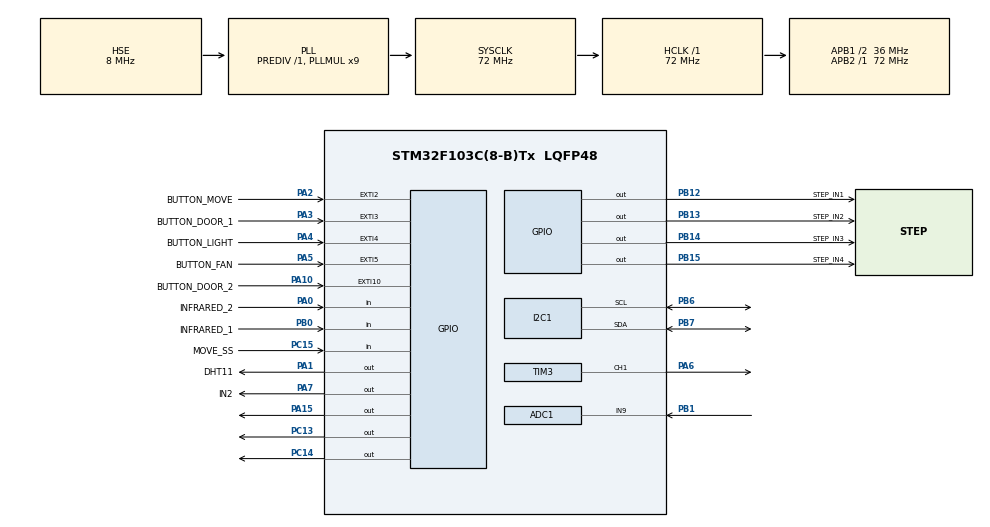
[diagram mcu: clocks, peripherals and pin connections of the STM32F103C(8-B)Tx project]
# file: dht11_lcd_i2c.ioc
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ADC1.Channel-0\#ChannelRegularConversion=ADC_CHANNEL_9
ADC1.ContinuousConvMode=ENABLE
ADC1.NbrOfConversionFlag=1
ADC1.Rank-0\#ChannelRegularConversion=1
ADC1.SamplingTime-0\#ChannelRegularConversion=ADC_SAMPLETIME_1CYCLE_5
ADC1.master=1
I2C1.OwnAddress=0x4E
Mcu.Family=STM32F1
Mcu.Name=STM32F103C(8-B)Tx
Mcu.Package=LQFP48
NVIC.EXTI15_10_IRQn=true\:0\:0\:false\:false\:true\:true\:true\:true
NVIC.EXTI2_IRQn=true\:0\:0\:false\:false\:true\:true\:true\:true
NVIC.EXTI3_IRQn=true\:0\:0\:false\:false\:true\:true\:true\:true
NVIC.EXTI4_IRQn=true\:0\:0\:false\:false\:true\:true\:true\:true
NVIC.EXTI9_5_IRQn=true\:0\:0\:false\:false\:true\:true\:true\:true
NVIC.PriorityGroup=NVIC_PRIORITYGROUP_4
PA0-WKUP.GPIO_Label=INFRARED_2
PA0-WKUP.GPIO_PuPd=GPIO_PULLDOWN
PA0-WKUP.Signal=GPIO_Input
PA1.GPIO_Label=DHT11
PA1.PinState=GPIO_PIN_RESET
PA1.Signal=GPIO_Output
PA10.GPIO_Label=BUTTON_DOOR_2
PA10.GPIO_ModeDefaultEXTI=GPIO_MODE_IT_FALLING
PA10.GPIO_PuPd=GPIO_PULLUP
PA10.Signal=GPXTI10
PA13.Mode=Serial_Wire
PA13.Signal=SYS_JTMS-SWDIO
PA14.Mode=Serial_Wire
PA14.Signal=SYS_JTCK-SWCLK
PA15.PinState=GPIO_PIN_SET
PA15.Signal=GPIO_Output
PA2.GPIO_Label=BUTTON_MOVE
PA2.GPIO_ModeDefaultEXTI=GPIO_MODE_IT_FALLING
PA2.GPIO_PuPd=GPIO_PULLUP
PA2.Signal=GPXTI2
PA3.GPIO_Label=BUTTON_DOOR_1
PA3.GPIO_ModeDefaultEXTI=GPIO_MODE_IT_FALLING
PA3.GPIO_PuPd=GPIO_PULLUP
PA3.Signal=GPXTI3
PA4.GPIO_Label=BUTTON_LIGHT
PA4.GPIO_ModeDefaultEXTI=GPIO_MODE_IT_FALLING
PA4.GPIO_PuPd=GPIO_PULLUP
PA4.Signal=GPXTI4
PA5.GPIO_Label=BUTTON_FAN
PA5.GPIO_ModeDefaultEXTI=GPIO_MODE_IT_FALLING
PA5.GPIO_PuPd=GPIO_PULLUP
PA5.Signal=GPXTI5
PA6.Signal=S_TIM3_CH1
PA7.GPIO_Label=IN2
PA7.Signal=GPIO_Output
PB0.GPIO_Label=INFRARED_1
PB0.GPIO_PuPd=GPIO_PULLDOWN
PB0.Signal=GPIO_Input
PB1.Signal=ADCx_IN9
PB12.GPIO_Label=STEP_IN1
PB12.Signal=GPIO_Output
PB13.GPIO_Label=STEP_IN2
PB13.Signal=GPIO_Output
PB14.GPIO_Label=STEP_IN3
PB14.Signal=GPIO_Output
PB15.GPIO_Label=STEP_IN4
PB15.Signal=GPIO_Output
PB6.Mode=I2C
PB6.Signal=I2C1_SCL
PB7.Mode=I2C
PB7.Signal=I2C1_SDA
PC13-TAMPER-RTC.PinState=GPIO_PIN_RESET
PC13-TAMPER-RTC.Signal=GPIO_Output
PC14-OSC32_IN.PinState=GPIO_PIN_SET
PC14-OSC32_IN.Signal=GPIO_Output
PC15-OSC32_OUT.GPIO_Label=MOVE_SS
PC15-OSC32_OUT.GPIO_PuPd=GPIO_PULLDOWN
PC15-OSC32_OUT.Signal=GPIO_Input
PD0-OSC_IN.Mode=HSE-External-Oscillator
PD0-OSC_IN.Signal=RCC_OSC_IN
PD1-OSC_OUT.Mode=HSE-External-Oscillator
PD1-OSC_OUT.Signal=RCC_OSC_OUT
ProjectManager.HeapSize=0x200
ProjectManager.StackSize=0x400
ProjectManager.TargetToolchain=MDK-ARM V5.32
RCC.ADCPresc=RCC_ADCPCLK2_DIV6
RCC.AHBFreq_Value=72000000
RCC.APB1CLKDivider=RCC_HCLK_DIV2
RCC.APB1Freq_Value=36000000
RCC.APB1TimFreq_Value=72000000
RCC.APB2Freq_Value=72000000
RCC.APB2TimFreq_Value=72000000
RCC.HCLKFreq_Value=72000000
RCC.PLLMUL=RCC_PLL_MUL9
RCC.PLLSourceVirtual=RCC_PLLSOURCE_HSE
RCC.SYSCLKFreq_VALUE=72000000
RCC.SYSCLKSource=RCC_SYSCLKSOURCE_PLLCLK
RCC.USBFreq_Value=72000000
SH.ADCx_IN9.0=ADC1_IN9,IN9
SH.S_TIM3_CH1.0=TIM3_CH1,PWM Generation1 CH1
TIM3.AutoReloadPreload=TIM_AUTORELOAD_PRELOAD_ENABLE
TIM3.Channel-PWM\ Generation1\ CH1=TIM_CHANNEL_1
TIM3.Period=999
TIM3.Prescaler=719
TIM3.Pulse-PWM\ Generation1\ CH1=499
TIM4.Period=0xffff-1
TIM4.Prescaler=72-1
VP_TIM3_VS_ClockSourceINT.Mode=Internal
VP_TIM4_VS_ClockSourceINT.Mode=Internal
board=custom

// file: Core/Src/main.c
/* USER CODE BEGIN Header */
/**
  ******************************************************************************
  * @file           : main.c
  * @brief          : Main program body
  ******************************************************************************
  * @attention
  *
  * Copyright (c) 2023 STMicroelectronics.
  * All rights reserved.
  *
  * This software is licensed under terms that can be found in the LICENSE file
  * in the root directory of this software component.
  * If no LICENSE file comes with this software, it is provided AS-IS.
  *
  ******************************************************************************
  */
/* USER CODE END Header */
#include "main.h"

/* USER CODE BEGIN Includes */
#include "i2c-lcd.h"
#include "stdio.h"
#include "dc_motor_fun.h"
/* USER CODE END Includes */

/* USER CODE BEGIN PD */
#define DHT11_PORT GPIOA
#define DHT11_PIN GPIO_PIN_1
/* USER CODE END PD */

ADC_HandleTypeDef hadc1;

I2C_HandleTypeDef hi2c1;

TIM_HandleTypeDef htim3;
TIM_HandleTypeDef htim4;

/* USER CODE BEGIN PV */
// bien chuc nang light
volatile static  uint8_t flag_light = 0;
volatile static  uint8_t flag_fan = 0;
volatile static uint16_t readValue;

// bien chuc nang nhiet do va quat
uint8_t Rh_byte1,Rh_byte2,Temp_byte1,Temp_byte2;
uint16_t SUM,RH,TEMP;

float Temperature = 0;
float Humidity= 0;
uint8_t Presence = 0;
// bien chuc nang cam bien hong ngoai
volatile static uint8_t flag_door;
volatile static uint8_t  done_close;
// bien chuc nang cam bien chuyen dong

uint8_t flag_move = 0;
uint8_t read_pa15;
uint8_t Response = 0;
/* USER CODE END PV */

void SystemClock_Config(void);
static void MX_GPIO_Init(void);
static void MX_I2C1_Init(void);
static void MX_TIM4_Init(void);
static void MX_TIM3_Init(void);
static void MX_ADC1_Init(void);
/* USER CODE BEGIN PFP */
// void delay(uint16_t time);
void Display_Temp(float Temp);
void Display_Rh (float Rh);
void Set_Pin_Output(GPIO_TypeDef *GPIOx, uint16_t GPIO_Pin);
void Set_Pin_Input (GPIO_TypeDef *GPIOx, uint16_t GPIO_Pin);
void DHT11_Start (void);
uint8_t DHT11_Check_Response(void);
uint8_t DHT11_Read (void);

/* USER CODE END PFP */

/* USER CODE BEGIN 0 */

void HAL_GPIO_EXTI_Callback(uint16_t GPIO_Pin)
{
  /* Prevent unused argument(s) compilation warning */
	uint16_t duty_cycle;

  UNUSED(GPIO_Pin);
	// xu ly ngat cho cam bien nhiet va quat
 if(GPIO_Pin == BUTTON_FAN_Pin){
	 if(flag_fan == 0){
	 if(Temperature <= 32){
		 duty_cycle = 600;
	 } else duty_cycle = 0;
	 __HAL_TIM_SetCompare(&htim3,TIM_CHANNEL_1,duty_cycle);
	 flag_fan = 1;
	 } else flag_fan = 0;
 }
 	// xu ly ngat cho cam bien anh sang
	if(GPIO_Pin == BUTTON_LIGHT_Pin){
HAL_GPIO_TogglePin(GPIOC,GPIO_PIN_14);
		if(flag_light == 0){
		flag_light = 1 ;
		} else flag_light = 0;
	if(readValue > 2100){
	readValue = 0;
	} else readValue = 3900;
}
	// xu ly ngat cho cam bien hong ngoai
	if(GPIO_Pin == BUTTON_DOOR_1_Pin){
			if(flag_door == 0){
				flag_door = 1;
				stepCCV(1536,1000);
			} else if(flag_door == 1){
			stepCV(1536,1000);
				flag_door = 0;
			}

}
		if(GPIO_Pin == BUTTON_DOOR_2_Pin){
				if(flag_door == 0){
				flag_door = 1;
				stepCCV(1536,1000);
			} else if(flag_door == 1){
			stepCV(1536,1000);
				flag_door = 0;
			}
	}
	// xu ly ngat cho cam bien chuyen dong
	if(GPIO_Pin == BUTTON_MOVE_Pin){
			if(flag_move == 0){
			flag_move = 1;
			read_pa15 = HAL_GPIO_ReadPin(MOVE_SS_GPIO_Port,MOVE_SS_Pin);
			(read_pa15) ? (HAL_GPIO_WritePin(GPIOA,GPIO_PIN_15,1)) : (HAL_GPIO_WritePin(GPIOA,GPIO_PIN_15,0));
			} else flag_move = 0;
	}
}
/* USER CODE END 0 */

int main(void)
{

  /* MCU Configuration--------------------------------------------------------*/

  /* Reset of all peripherals, Initializes the Flash interface and the Systick. */
  HAL_Init();

  /* Configure the system clock */
  SystemClock_Config();

  /* Initialize all configured peripherals */
  MX_GPIO_Init();
  MX_I2C1_Init();
  MX_TIM4_Init();
  MX_TIM3_Init();
  MX_ADC1_Init();
  /* USER CODE BEGIN 2 */
	HAL_TIM_PWM_Start(&htim3,TIM_CHANNEL_1);
	HAL_TIM_Base_Start(&htim4);
	HAL_ADC_Start(&hadc1);
	/*
  lcd_init();
  lcd_send_string("INITIALISING>>>>");
  HAL_Delay(2000);
  lcd_clear ();
	*/

  /* USER CODE END 2 */

  /* Infinite loop */
  while (1)
  {

    /* USER CODE BEGIN 3 */
			// xu ly cam bien nhiet do

		DHT11_Start();

	  Presence = DHT11_Check_Response ();
		HAL_GPIO_TogglePin(GPIOC,GPIO_PIN_13);
	  Rh_byte1 = DHT11_Read (); // doc gia tri 8 bit du lieu dau tien
	  Rh_byte2 = DHT11_Read (); // doc gia tri 8 bit du lieu thu hai
	  Temp_byte1 = DHT11_Read ();
	  Temp_byte2 = DHT11_Read ();
	  SUM = DHT11_Read();

	  TEMP = Temp_byte1;
	  RH = Rh_byte1;

	  Temperature = (float) TEMP;
	  Humidity = (float) RH;
		Display_Temp(Temperature);
		Display_Rh(Humidity);

		if(flag_fan == 0){
		pwm_DC_motor(Temperature);
		}

		// xu ly cam bien anh sang
		if(flag_light == 0){
			HAL_ADC_PollForConversion(&hadc1,1000);
	  readValue = HAL_ADC_GetValue(&hadc1);

		if(readValue > 2100){
		HAL_Delay(1000);
			if(readValue > 2100){
				HAL_GPIO_WritePin(GPIOC, GPIO_PIN_14,0);
			}
		} else if(readValue < 2100){
		HAL_Delay(1000);
			if(readValue < 2100){
			HAL_GPIO_WritePin(GPIOC, GPIO_PIN_14,1);
			}
		}
	}

			// xu ly cam bien hong ngoai
		if(flag_door == 0){
		if(HAL_GPIO_ReadPin(INFRARED_1_GPIO_Port,INFRARED_1_Pin)==0){
				HAL_Delay(1000);
				if(HAL_GPIO_ReadPin(INFRARED_1_GPIO_Port,INFRARED_1_Pin)==0){

					stepCCV(1536,1000);
						while(HAL_GPIO_ReadPin(INFRARED_1_GPIO_Port,INFRARED_1_Pin)==0){}
					stepCV(1536,1000);
					done_close = 1;

					}
				} else if(HAL_GPIO_ReadPin(INFRARED_2_GPIO_Port,INFRARED_2_Pin)==0){
				HAL_Delay(1000);
				if(HAL_GPIO_ReadPin(INFRARED_2_GPIO_Port,INFRARED_2_Pin)==0){
					stepCCV(1536,1000);
						while(HAL_GPIO_ReadPin(INFRARED_2_GPIO_Port,INFRARED_2_Pin)==0){}
					stepCV(1536,1000);
					done_close = 1;

					}
			}
		}

		// xu ly cam bien chuyen dong
			if(HAL_GPIO_ReadPin(MOVE_SS_GPIO_Port,MOVE_SS_Pin) == 1){
				if(flag_move == 0){
				HAL_GPIO_WritePin(GPIOA,GPIO_PIN_15,0);
				}
			}
			if(HAL_GPIO_ReadPin(MOVE_SS_GPIO_Port,MOVE_SS_Pin) == 0){
				if(flag_move == 0){
				HAL_GPIO_WritePin(GPIOA,GPIO_PIN_15,1);
				}
			}

	HAL_Delay(1000);
  }
  /* USER CODE END 3 */
}

void SystemClock_Config(void)
{
  RCC_OscInitTypeDef RCC_OscInitStruct = {0};
  RCC_ClkInitTypeDef RCC_ClkInitStruct = {0};
  RCC_PeriphCLKInitTypeDef PeriphClkInit = {0};

  /** Initializes the RCC Oscillators according to the specified parameters
  * in the RCC_OscInitTypeDef structure.
  */
  RCC_OscInitStruct.OscillatorType = RCC_OSCILLATORTYPE_HSE;
  RCC_OscInitStruct.HSEState = RCC_HSE_ON;
  RCC_OscInitStruct.HSEPredivValue = RCC_HSE_PREDIV_DIV1;
  RCC_OscInitStruct.HSIState = RCC_HSI_ON;
  RCC_OscInitStruct.PLL.PLLState = RCC_PLL_ON;
  RCC_OscInitStruct.PLL.PLLSource = RCC_PLLSOURCE_HSE;
  RCC_OscInitStruct.PLL.PLLMUL = RCC_PLL_MUL9;
  if (HAL_RCC_OscConfig(&RCC_OscInitStruct) != HAL_OK)
  {
    Error_Handler();
  }

  /** Initializes the CPU, AHB and APB buses clocks
  */
  RCC_ClkInitStruct.ClockType = RCC_CLOCKTYPE_HCLK|RCC_CLOCKTYPE_SYSCLK
                              |RCC_CLOCKTYPE_PCLK1|RCC_CLOCKTYPE_PCLK2;
  RCC_ClkInitStruct.SYSCLKSource = RCC_SYSCLKSOURCE_PLLCLK;
  RCC_ClkInitStruct.AHBCLKDivider = RCC_SYSCLK_DIV1;
  RCC_ClkInitStruct.APB1CLKDivider = RCC_HCLK_DIV2;
  RCC_ClkInitStruct.APB2CLKDivider = RCC_HCLK_DIV1;

  if (HAL_RCC_ClockConfig(&RCC_ClkInitStruct, FLASH_LATENCY_2) != HAL_OK)
  {
    Error_Handler();
  }
  PeriphClkInit.PeriphClockSelection = RCC_PERIPHCLK_ADC;
  PeriphClkInit.AdcClockSelection = RCC_ADCPCLK2_DIV6;
  if (HAL_RCCEx_PeriphCLKConfig(&PeriphClkInit) != HAL_OK)
  {
    Error_Handler();
  }
}

static void MX_ADC1_Init(void)
{

  ADC_ChannelConfTypeDef sConfig = {0};

  /** Common config
  */
  hadc1.Instance = ADC1;
  hadc1.Init.ScanConvMode = ADC_SCAN_DISABLE;
  hadc1.Init.ContinuousConvMode = ENABLE;
  hadc1.Init.DiscontinuousConvMode = DISABLE;
  hadc1.Init.ExternalTrigConv = ADC_SOFTWARE_START;
  hadc1.Init.DataAlign = ADC_DATAALIGN_RIGHT;
  hadc1.Init.NbrOfConversion = 1;
  if (HAL_ADC_Init(&hadc1) != HAL_OK)
  {
    Error_Handler();
  }

  /** Configure Regular Channel
  */
  sConfig.Channel = ADC_CHANNEL_9;
  sConfig.Rank = ADC_REGULAR_RANK_1;
  sConfig.SamplingTime = ADC_SAMPLETIME_1CYCLE_5;
  if (HAL_ADC_ConfigChannel(&hadc1, &sConfig) != HAL_OK)
  {
    Error_Handler();
  }

}

static void MX_I2C1_Init(void)
{

  hi2c1.Instance = I2C1;
  hi2c1.Init.ClockSpeed = 100000;
  hi2c1.Init.DutyCycle = I2C_DUTYCYCLE_2;
  hi2c1.Init.OwnAddress1 = 156;
  hi2c1.Init.AddressingMode = I2C_ADDRESSINGMODE_7BIT;
  hi2c1.Init.DualAddressMode = I2C_DUALADDRESS_DISABLE;
  hi2c1.Init.OwnAddress2 = 0;
  hi2c1.Init.GeneralCallMode = I2C_GENERALCALL_DISABLE;
  hi2c1.Init.NoStretchMode = I2C_NOSTRETCH_DISABLE;
  if (HAL_I2C_Init(&hi2c1) != HAL_OK)
  {
    Error_Handler();
  }

}

static void MX_TIM3_Init(void)
{

  TIM_ClockConfigTypeDef sClockSourceConfig = {0};
  TIM_MasterConfigTypeDef sMasterConfig = {0};
  TIM_OC_InitTypeDef sConfigOC = {0};

  htim3.Instance = TIM3;
  htim3.Init.Prescaler = 719;
  htim3.Init.CounterMode = TIM_COUNTERMODE_UP;
  htim3.Init.Period = 999;
  htim3.Init.ClockDivision = TIM_CLOCKDIVISION_DIV1;
  htim3.Init.AutoReloadPreload = TIM_AUTORELOAD_PRELOAD_ENABLE;
  if (HAL_TIM_Base_Init(&htim3) != HAL_OK)
  {
    Error_Handler();
  }
  sClockSourceConfig.ClockSource = TIM_CLOCKSOURCE_INTERNAL;
  if (HAL_TIM_ConfigClockSource(&htim3, &sClockSourceConfig) != HAL_OK)
  {
    Error_Handler();
  }
  if (HAL_TIM_PWM_Init(&htim3) != HAL_OK)
  {
    Error_Handler();
  }
  sMasterConfig.MasterOutputTrigger = TIM_TRGO_RESET;
  sMasterConfig.MasterSlaveMode = TIM_MASTERSLAVEMODE_DISABLE;
  if (HAL_TIMEx_MasterConfigSynchronization(&htim3, &sMasterConfig) != HAL_OK)
  {
    Error_Handler();
  }
  sConfigOC.OCMode = TIM_OCMODE_PWM1;
  sConfigOC.Pulse = 499;
  sConfigOC.OCPolarity = TIM_OCPOLARITY_HIGH;
  sConfigOC.OCFastMode = TIM_OCFAST_DISABLE;
  if (HAL_TIM_PWM_ConfigChannel(&htim3, &sConfigOC, TIM_CHANNEL_1) != HAL_OK)
  {
    Error_Handler();
  }
  HAL_TIM_MspPostInit(&htim3);

}

static void MX_TIM4_Init(void)
{

  TIM_ClockConfigTypeDef sClockSourceConfig = {0};
  TIM_MasterConfigTypeDef sMasterConfig = {0};

  htim4.Instance = TIM4;
  htim4.Init.Prescaler = 72-1;
  htim4.Init.CounterMode = TIM_COUNTERMODE_UP;
  htim4.Init.Period = 0xffff-1;
  htim4.Init.ClockDivision = TIM_CLOCKDIVISION_DIV1;
  htim4.Init.AutoReloadPreload = TIM_AUTORELOAD_PRELOAD_DISABLE;
  if (HAL_TIM_Base_Init(&htim4) != HAL_OK)
  {
    Error_Handler();
  }
  sClockSourceConfig.ClockSource = TIM_CLOCKSOURCE_INTERNAL;
  if (HAL_TIM_ConfigClockSource(&htim4, &sClockSourceConfig) != HAL_OK)
  {
    Error_Handler();
  }
  sMasterConfig.MasterOutputTrigger = TIM_TRGO_RESET;
  sMasterConfig.MasterSlaveMode = TIM_MASTERSLAVEMODE_DISABLE;
  if (HAL_TIMEx_MasterConfigSynchronization(&htim4, &sMasterConfig) != HAL_OK)
  {
    Error_Handler();
  }

}

static void MX_GPIO_Init(void)
{
  GPIO_InitTypeDef GPIO_InitStruct = {0};

  /* GPIO Ports Clock Enable */
  __HAL_RCC_GPIOC_CLK_ENABLE();
  __HAL_RCC_GPIOD_CLK_ENABLE();
  __HAL_RCC_GPIOA_CLK_ENABLE();
  __HAL_RCC_GPIOB_CLK_ENABLE();

  /*Configure GPIO pin Output Level */
  HAL_GPIO_WritePin(GPIOC, GPIO_PIN_13, GPIO_PIN_RESET);

  /*Configure GPIO pin Output Level */
  HAL_GPIO_WritePin(GPIOC, GPIO_PIN_14, GPIO_PIN_SET);

  /*Configure GPIO pin Output Level */
  HAL_GPIO_WritePin(GPIOA, DHT11_Pin|IN2_Pin, GPIO_PIN_RESET);

  /*Configure GPIO pin Output Level */
  HAL_GPIO_WritePin(GPIOB, STEP_IN1_Pin|STEP_IN2_Pin|STEP_IN3_Pin|STEP_IN4_Pin, GPIO_PIN_RESET);

  /*Configure GPIO pin Output Level */
  HAL_GPIO_WritePin(GPIOA, GPIO_PIN_15, GPIO_PIN_SET);

  /*Configure GPIO pins : PC13 PC14 */
  GPIO_InitStruct.Pin = GPIO_PIN_13|GPIO_PIN_14;
  GPIO_InitStruct.Mode = GPIO_MODE_OUTPUT_PP;
  GPIO_InitStruct.Pull = GPIO_NOPULL;
  GPIO_InitStruct.Speed = GPIO_SPEED_FREQ_LOW;
  HAL_GPIO_Init(GPIOC, &GPIO_InitStruct);

  /*Configure GPIO pin : MOVE_SS_Pin */
  GPIO_InitStruct.Pin = MOVE_SS_Pin;
  GPIO_InitStruct.Mode = GPIO_MODE_INPUT;
  GPIO_InitStruct.Pull = GPIO_PULLDOWN;
  HAL_GPIO_Init(MOVE_SS_GPIO_Port, &GPIO_InitStruct);

  /*Configure GPIO pin : INFRARED_2_Pin */
  GPIO_InitStruct.Pin = INFRARED_2_Pin;
  GPIO_InitStruct.Mode = GPIO_MODE_INPUT;
  GPIO_InitStruct.Pull = GPIO_PULLDOWN;
  HAL_GPIO_Init(INFRARED_2_GPIO_Port, &GPIO_InitStruct);

  /*Configure GPIO pins : DHT11_Pin IN2_Pin PA15 */
  GPIO_InitStruct.Pin = DHT11_Pin|IN2_Pin|GPIO_PIN_15;
  GPIO_InitStruct.Mode = GPIO_MODE_OUTPUT_PP;
  GPIO_InitStruct.Pull = GPIO_NOPULL;
  GPIO_InitStruct.Speed = GPIO_SPEED_FREQ_LOW;
  HAL_GPIO_Init(GPIOA, &GPIO_InitStruct);

  /*Configure GPIO pins : BUTTON_MOVE_Pin BUTTON_DOOR_1_Pin BUTTON_LIGHT_Pin BUTTON_FAN_Pin
                           BUTTON_DOOR_2_Pin */
  GPIO_InitStruct.Pin = BUTTON_MOVE_Pin|BUTTON_DOOR_1_Pin|BUTTON_LIGHT_Pin|BUTTON_FAN_Pin
                          |BUTTON_DOOR_2_Pin;
  GPIO_InitStruct.Mode = GPIO_MODE_IT_FALLING;
  GPIO_InitStruct.Pull = GPIO_PULLUP;
  HAL_GPIO_Init(GPIOA, &GPIO_InitStruct);

  /*Configure GPIO pin : INFRARED_1_Pin */
  GPIO_InitStruct.Pin = INFRARED_1_Pin;
  GPIO_InitStruct.Mode = GPIO_MODE_INPUT;
  GPIO_InitStruct.Pull = GPIO_PULLDOWN;
  HAL_GPIO_Init(INFRARED_1_GPIO_Port, &GPIO_InitStruct);

  /*Configure GPIO pins : STEP_IN1_Pin STEP_IN2_Pin STEP_IN3_Pin STEP_IN4_Pin */
  GPIO_InitStruct.Pin = STEP_IN1_Pin|STEP_IN2_Pin|STEP_IN3_Pin|STEP_IN4_Pin;
  GPIO_InitStruct.Mode = GPIO_MODE_OUTPUT_PP;
  GPIO_InitStruct.Pull = GPIO_NOPULL;
  GPIO_InitStruct.Speed = GPIO_SPEED_FREQ_LOW;
  HAL_GPIO_Init(GPIOB, &GPIO_InitStruct);

  /* EXTI interrupt init*/
  HAL_NVIC_SetPriority(EXTI2_IRQn, 0, 0);
  HAL_NVIC_EnableIRQ(EXTI2_IRQn);

  HAL_NVIC_SetPriority(EXTI3_IRQn, 0, 0);
  HAL_NVIC_EnableIRQ(EXTI3_IRQn);

  HAL_NVIC_SetPriority(EXTI4_IRQn, 0, 0);
  HAL_NVIC_EnableIRQ(EXTI4_IRQn);

  HAL_NVIC_SetPriority(EXTI9_5_IRQn, 0, 0);
  HAL_NVIC_EnableIRQ(EXTI9_5_IRQn);

  HAL_NVIC_SetPriority(EXTI15_10_IRQn, 0, 0);
  HAL_NVIC_EnableIRQ(EXTI15_10_IRQn);

}

/* USER CODE BEGIN 4 */

void Display_Temp(float Temp)
{
	char str[20] = {0};
	lcd_put_cur(0, 0);

	sprintf (str, "TEMP:- %.2f ", Temp);
	lcd_send_string(str);
	lcd_send_data('C');
}

void Display_Rh (float Rh)
{
	char str[20] = {0};
	lcd_put_cur(1, 0);

	sprintf (str, "RH:- %.2f ", Rh);
	lcd_send_string(str);
	lcd_send_data('%');
}

void Set_Pin_Output(GPIO_TypeDef *GPIOx, uint16_t GPIO_Pin)
{
	GPIO_InitTypeDef GPIO_InitStruct = {0};
	GPIO_InitStruct.Pin = GPIO_Pin;
	GPIO_InitStruct.Mode = GPIO_MODE_OUTPUT_PP;
	GPIO_InitStruct.Speed = GPIO_SPEED_FREQ_LOW;
	HAL_GPIO_Init(GPIOx, &GPIO_InitStruct);
}
void Set_Pin_Input (GPIO_TypeDef *GPIOx, uint16_t GPIO_Pin)
{
	GPIO_InitTypeDef GPIO_InitStruct = {0};
	GPIO_InitStruct.Pin = GPIO_Pin;
	GPIO_InitStruct.Mode = GPIO_MODE_INPUT;
	GPIO_InitStruct.Pull = GPIO_PULLUP;
	HAL_GPIO_Init(GPIOx, &GPIO_InitStruct);
}

void DHT11_Start (void)
{
	Set_Pin_Output (DHT11_PORT, DHT11_PIN);  // set the pin as output
	HAL_GPIO_WritePin (DHT11_PORT, DHT11_PIN, 0);   // pull the pin low
	delay (18000);   // wait for 18ms
	Set_Pin_Input(DHT11_PORT, DHT11_PIN);    // set as input
}

uint8_t DHT11_Check_Response (void)
{
	uint8_t Response = 0;
	delay (40);
	if (!(HAL_GPIO_ReadPin (DHT11_PORT, DHT11_PIN)))
	{
		delay (80);
		if ((HAL_GPIO_ReadPin (DHT11_PORT, DHT11_PIN))) Response = 1;
		else Response = -1; // 255
	}
	while ((HAL_GPIO_ReadPin (DHT11_PORT, DHT11_PIN)));   // wait for the pin to go low

	return Response;
}

uint8_t DHT11_Read (void)
{
	uint8_t i,j;
	for (j=0;j<8;j++)
	{
		while (!(HAL_GPIO_ReadPin (DHT11_PORT, DHT11_PIN)));   // wait for the pin to go high
		delay (40);   // wait for 40 us
		if (!(HAL_GPIO_ReadPin (DHT11_PORT, DHT11_PIN)))   // if the pin is low
		{
			i&= ~(1<<(7-j));   // write 0
		}
		else i|= (1<<(7-j));  // if the pin is high, write 1
		while ((HAL_GPIO_ReadPin (DHT11_PORT, DHT11_PIN)));  // wait for the pin to go low
	}
	return i;
}
/* USER CODE END 4 */

void Error_Handler(void)
{
  __disable_irq();
  while (1)
  {
  }
}
